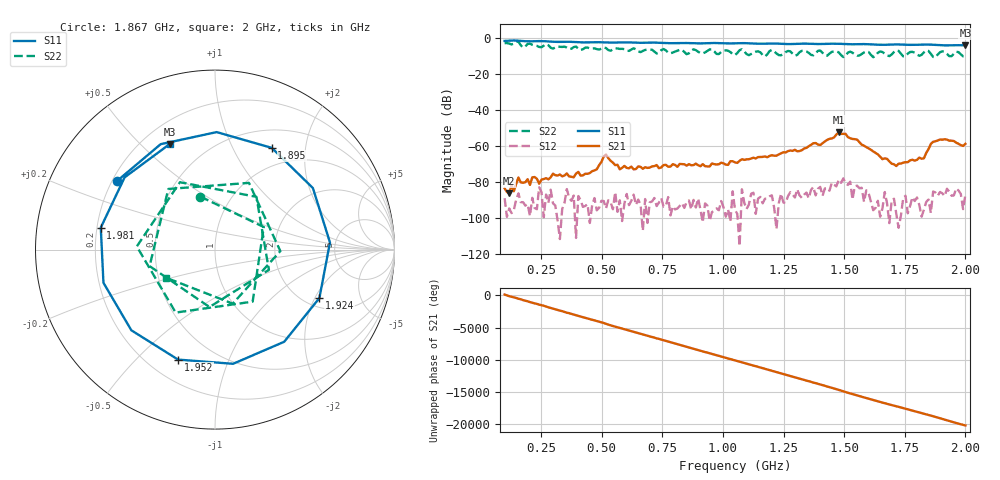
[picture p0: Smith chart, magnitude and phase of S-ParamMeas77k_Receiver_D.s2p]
!Keysight Technologies,N5242B,MY48420967,A.15.65.19
!Date: Saturday, February 04, 2023 06:42:13
!Correction: S11(C  1-Port  )
!S21(Off)
!S12(Off)
!S22(Off)
!S2P File: Measurements: S11, S21, S12, S22:
# Hz S  dB  R 50
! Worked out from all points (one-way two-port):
!   201 points, 100 MHz to 2 GHz, reference 50 ohm
!   highest |S21| = -52.25 dB at 1.478 GHz (marker M1); lowest = -86.2 dB at 119 MHz (marker M2)
!   lowest |S11| = -3.9 dB at 2 GHz (marker M3), VSWR 4.55, Z = 15.4 + j30.7 ohm
!   |S11| at or under -10 dB: nowhere
!   |S22| runs from -10.5 to -1.8 dB; largest |S21 - S12| = 0.0025
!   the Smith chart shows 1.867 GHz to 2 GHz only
!   S11 on the Smith chart (normalised r, x): 1.867 GHz: 0.22, +0.30; 1.895 GHz: 0.73, +1.44; 1.924 GHz: 2.38, -2.18; 1.952 GHz: 0.32, -0.67; 1.981 GHz: 0.22, +0.09; 2 GHz: 0.31, +0.61
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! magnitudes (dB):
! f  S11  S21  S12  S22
! 100 MHz  -1.4  -83.4  -88.9  -2.6
! 119 MHz  -1.2  -86.2  -94.6  -2.9
! 423 MHz  -2.2  -76.2  -93.7  -6.0
! 480 MHz  -2.1  -72.8  -95.6  -5.9
! 518 MHz  -2.2  -64.6  -94.5  -5.3
! 575 MHz  -2.2  -72.8  -90.1  -5.8
! 736.5 MHz  -2.4  -72.2  -91.3  -7.9
! 1.05 GHz  -2.7  -69.0  -95.4  -9.2
! 1.079 GHz  -2.6  -67.2  -83.9  -6.0
! 1.107 GHz  -2.7  -67.2  -92.5  -9.3
! 1.202 GHz  -2.8  -64.9  -87.3  -6.4
! 1.373 GHz  -3.0  -58.3  -82.6  -9.4
! 1.478 GHz  -2.9  -52.2  -78.7  -7.7
! 1.687 GHz  -3.4  -68.4  -102.8  -9.8
! 1.715 GHz  -3.3  -71.0  -97.5  -6.6
! 1.829 GHz  -3.4  -66.6  -95.3  -7.7
! 1.867 GHz  -3.5  -57.5  -85.1  -10.3
! 1.895 GHz  -3.8  -56.2  -85.4  -7.7
! 1.924 GHz  -3.9  -56.3  -83.6  -8.5
! 1.952 GHz  -3.8  -57.1  -87.3  -8.5
! 1.981 GHz  -3.8  -59.4  -86.5  -8.8
! 2 GHz  -3.9  -58.6  -86.9  -10.0
